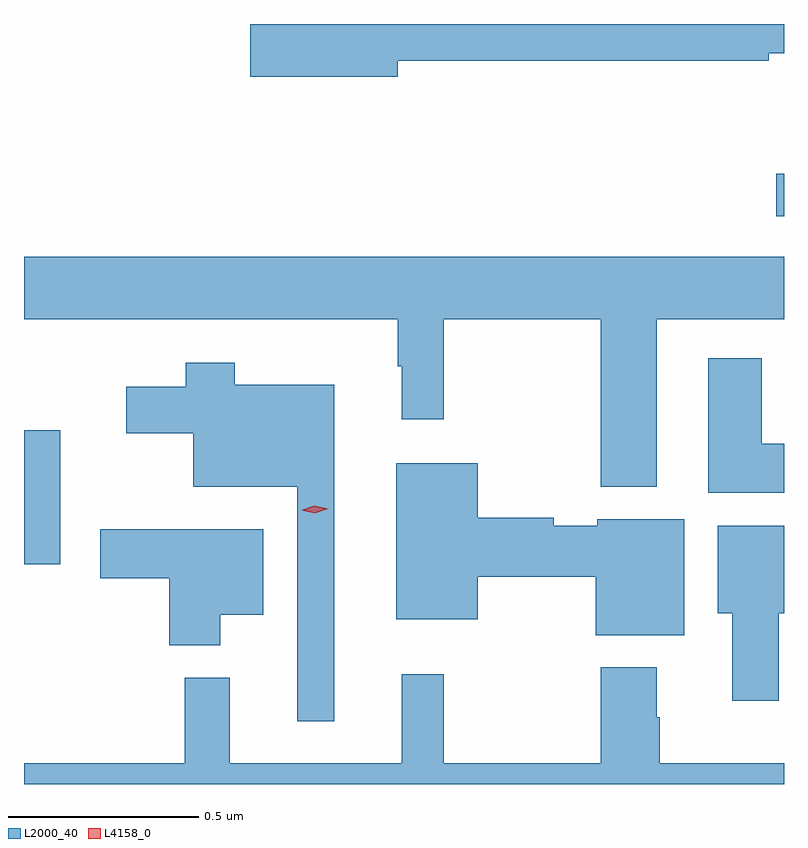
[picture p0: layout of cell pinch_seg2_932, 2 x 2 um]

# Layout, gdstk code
import gdstk
lib = gdstk.Library(unit=1e-6, precision=1e-09)
def R(c, l, rs):  # rectangles x0, y0, x1, y1
    for r in rs: c.add(gdstk.rectangle(r[:2], r[2:], *l))
def P(c, l, *ps):  # polygons
    for p in ps: c.add(gdstk.Polygon(p, *l))
L2000_40 = (2000, 40)
L4158_0 = (4158, 0)

pinch_seg2_932 = lib.new_cell('pinch_seg2_932')
R(pinch_seg2_932, L2000_40, [(406.942,654.983,407.038,655.336), (408.922,655.899,408.942,656.011)])
P(pinch_seg2_932, L2000_40, [(407.926,656.308),(408.902,656.308),(408.902,656.328),(408.942,656.328),(408.942,656.405),(407.538,656.405),(407.538,656.266),(407.926,656.266)],
  [(408.607,655.628),(408.942,655.628),(408.942,655.792),(406.942,655.792),(406.942,655.628),(407.925,655.628),(407.925,655.505),(407.936,655.505),(407.936,655.365),(408.046,655.365),(408.046,655.628),(408.46,655.628),(408.46,655.187),(408.607,655.187)],
  [(408.942,655.3),(408.883,655.3),(408.883,655.525),(408.743,655.525),(408.743,655.172),(408.942,655.172)],
  [(407.758,655.456),(407.497,655.456),(407.497,655.513),(407.368,655.513),(407.368,655.45),(407.211,655.45),(407.211,655.328),(407.387,655.328),(407.387,655.187),(407.661,655.187),(407.661,654.57),(407.758,654.57)],
  [(408.679,655.102),(408.45,655.102),(408.45,655.084),(408.336,655.084),(408.336,655.106),(408.136,655.106),(408.136,655.249),(407.921,655.249),(407.921,654.839),(408.136,654.839),(408.136,654.95),(408.446,654.95),(408.446,654.797),(408.679,654.797)],
  [(408.928,654.854),(408.942,654.854),(408.942,655.084),(408.767,655.084),(408.767,654.854),(408.806,654.854),(408.806,654.624),(408.928,654.624)],
  [(407.458,654.851),(407.572,654.851),(407.572,655.075),(407.142,655.075),(407.142,654.946),(407.324,654.946),(407.324,654.77),(407.458,654.77)],
  [(408.942,654.46),(408.615,654.46),(408.615,654.581),(408.607,654.581),(408.607,654.712),(408.46,654.712),(408.46,654.46),(408.046,654.46),(408.046,654.694),(407.936,654.694),(407.936,654.46),(407.483,654.46),(407.483,654.685),(407.365,654.685),(407.365,654.46),(406.942,654.46),(406.942,654.405),(408.942,654.405)])
P(pinch_seg2_932, L4158_0, [(407.707,655.117),(407.671,655.125),(407.671,655.125),(407.671,655.126),(407.706,655.137),(407.742,655.129),(407.742,655.129),(407.742,655.129)])

lib.write_gds('pinch_seg2_932.gds')
